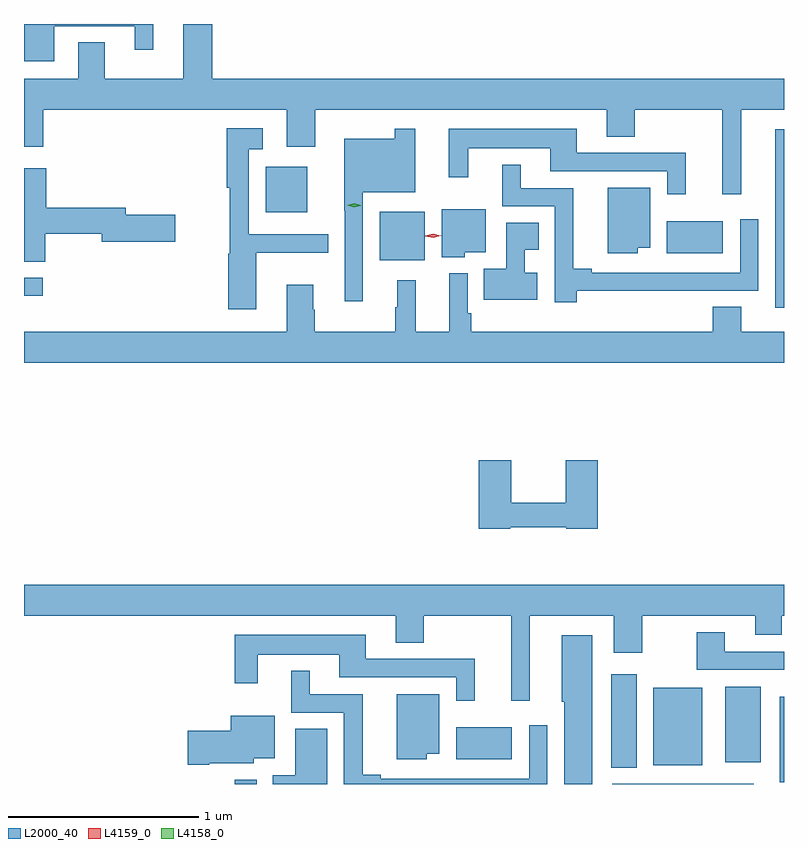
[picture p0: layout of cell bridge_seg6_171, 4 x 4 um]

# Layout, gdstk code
import gdstk
lib = gdstk.Library(unit=1e-6, precision=1e-09)
def R(c, l, rs):  # rectangles x0, y0, x1, y1
    for r in rs: c.add(gdstk.rectangle(r[:2], r[2:], *l))
def P(c, l, *ps):  # polygons
    for p in ps: c.add(gdstk.Polygon(p, *l))
L2000_40 = (2000, 40)
L4158_0 = (4158, 0)
L4159_0 = (4159, 0)

bridge_seg6_171 = lib.new_cell('bridge_seg6_171')
R(bridge_seg6_171, L2000_40, [(232.423,950.447,232.539,950.47), (234.411,950.447,235.156,950.448), (235.292,950.457,235.314,950.905), (234.404,950.533,234.538,951.025), (234.626,950.546,234.883,950.953), (235.004,950.561,235.192,950.959), (233.588,950.576,233.881,950.746), (235.268,952.953,235.314,953.893), (231.314,953.016,231.412,953.112), (233.186,953.204,233.422,953.458), (234.698,953.24,234.991,953.41), (232.586,953.456,232.804,953.695)])
P(bridge_seg6_171, L2000_40, [(231.472,954.435),(231.896,954.435),(231.896,954.312),(231.994,954.312),(231.994,954.447),(231.314,954.447),(231.314,954.251),(231.472,954.251)],
  [(235.088,953.996),(235.314,953.996),(235.314,954.16),(232.304,954.16),(232.304,954.445),(232.151,954.445),(232.151,954.16),(231.739,954.16),(231.739,954.35),(231.599,954.35),(231.599,954.16),(231.314,954.16),(231.314,953.802),(231.416,953.802),(231.416,953.996),(232.697,953.996),(232.697,953.802),(232.846,953.802),(232.846,953.996),(234.38,953.996),(234.38,953.854),(234.528,953.854),(234.528,953.996),(234.989,953.996),(234.989,953.55),(235.088,953.55)],
  [(232.537,953.243),(232.916,953.243),(232.916,953.34),(232.497,953.34),(232.497,953.789),(232.57,953.789),(232.57,953.899),(232.381,953.899),(232.381,953.586),(232.396,953.586),(232.396,953.237),(232.388,953.237),(232.388,952.947),(232.537,952.947)],
  [(234.797,953.769),(234.223,953.769),(234.223,953.896),(233.549,953.896),(233.549,953.64),(233.653,953.64),(233.653,953.792),(234.083,953.792),(234.083,953.673),(234.699,953.673),(234.699,953.55),(234.797,953.55)],
  [(233.097,953.561),(233.373,953.561),(233.373,953.896),(233.265,953.896),(233.265,953.842),(233,953.842),(233,953.465),(233.001,953.465),(233.001,952.989),(233.097,952.989)],
  [(234.224,953.042),(234.854,953.042),(234.854,953.043),(235.179,953.043),(235.179,953.419),(235.083,953.419),(235.083,953.139),(234.301,953.139),(234.301,953.159),(234.206,953.159),(234.206,953.583),(233.929,953.583),(233.929,953.707),(233.831,953.707),(233.831,953.487),(234.108,953.487),(234.108,952.983),(234.224,952.983)],
  [(231.426,953.344),(231.722,953.344),(231.722,953.302),(232.111,953.302),(232.111,953.444),(231.85,953.444),(231.85,953.48),(231.431,953.48),(231.431,953.689),(231.314,953.689),(231.314,953.197),(231.426,953.197)],
  [(234.544,953.27),(234.61,953.27),(234.61,953.584),(234.386,953.584),(234.386,953.24),(234.544,953.24)],
  [(233.634,953.246),(233.743,953.246),(233.743,953.473),(233.513,953.473),(233.513,953.219),(233.634,953.219)],
  [(234.016,953.137),(233.95,953.137),(233.95,953.258),(234.023,953.258),(234.023,953.402),(233.853,953.402),(233.853,953.158),(233.734,953.158),(233.734,952.997),(234.016,952.997)],
  [(235.314,952.828),(235.09,952.828),(235.09,952.958),(234.938,952.958),(234.938,952.828),(233.669,952.828),(233.669,952.924),(233.649,952.924),(233.649,953.134),(233.552,953.134),(233.552,952.828),(233.377,952.828),(233.377,953.098),(233.279,953.098),(233.279,952.955),(233.268,952.955),(233.268,952.828),(232.845,952.828),(232.845,952.943),(232.837,952.943),(232.837,953.074),(232.697,953.074),(232.697,952.828),(231.314,952.828),(231.314,952.664),(235.314,952.664)],
  [(233.874,951.798),(234.168,951.798),(234.168,951.79),(234.335,951.79),(234.335,952.15),(234.164,952.15),(234.164,951.926),(233.878,951.926),(233.878,952.15),(233.708,952.15),(233.708,951.79),(233.874,951.79)],
  [(233.977,951.332),(234.419,951.332),(234.419,951.138),(234.567,951.138),(234.567,951.332),(235.163,951.332),(235.163,951.233),(235.303,951.233),(235.303,951.332),(235.314,951.332),(235.314,951.496),(231.314,951.496),(231.314,951.332),(233.27,951.332),(233.27,951.19),(233.418,951.19),(233.418,951.332),(233.879,951.332),(233.879,950.886),(233.977,950.886)],
  [(235.314,951.144),(235.003,951.144),(235.003,951.247),(234.856,951.247),(234.856,951.048),(235.314,951.048)],
  [(233.687,951.105),(233.113,951.105),(233.113,951.232),(232.422,951.232),(232.422,950.976),(232.543,950.976),(232.543,951.128),(232.973,951.128),(232.973,951.009),(233.589,951.009),(233.589,950.886),(233.687,950.886)],
  [(234.304,951.229),(234.143,951.229),(234.143,950.88),(234.158,950.88),(234.158,950.447),(234.304,950.447)],
  [(234.069,950.755),(233.973,950.755),(233.973,950.475),(233.191,950.475),(233.191,950.495),(233.096,950.495),(233.096,950.919),(232.819,950.919),(232.819,951.043),(232.721,951.043),(232.721,950.823),(232.998,950.823),(232.998,950.447),(234.069,950.447)],
  [(233.434,950.606),(233.5,950.606),(233.5,950.92),(233.276,950.92),(233.276,950.576),(233.434,950.576)],
  [(232.288,950.555),(232.524,950.555),(232.524,950.582),(232.633,950.582),(232.633,950.806),(232.403,950.806),(232.403,950.726),(232.176,950.726),(232.176,950.548),(232.288,950.548)],
  [(232.909,950.738),(232.742,950.738),(232.742,950.494),(232.624,950.494),(232.624,950.447),(232.909,950.447)])
P(bridge_seg6_171, L4158_0, [(233.05,953.483),(233.015,953.494),(233.015,953.494),(233.015,953.494),(233.051,953.503),(233.087,953.492),(233.087,953.491),(233.087,953.491)])
P(bridge_seg6_171, L4159_0, [(233.468,953.322),(233.427,953.331),(233.427,953.331),(233.427,953.332),(233.467,953.342),(233.508,953.332),(233.509,953.332),(233.508,953.332)])

lib.write_gds('bridge_seg6_171.gds')
